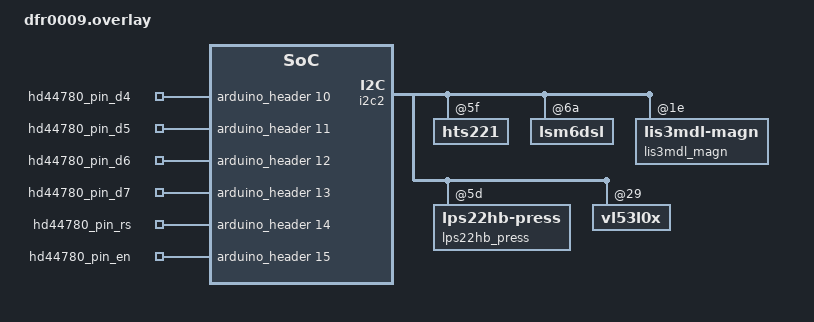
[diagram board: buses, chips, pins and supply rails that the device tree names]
/ {
    dfr0009 {
        compatible = "lcd1602", "hd44780", "gpio-leds";
        status = "okay";
        label = "hd44780";
 
        /* TODO: put ADC button gpios here too */

        hd44780_pin_d4: pin_d4 {
            gpios = <&arduino_header 10 GPIO_ACTIVE_HIGH>;
        };

        hd44780_pin_d5: pin_d5 {
            gpios = <&arduino_header 11 GPIO_ACTIVE_HIGH>;
        };

        hd44780_pin_d6: pin_d6 {
            gpios = <&arduino_header 12 GPIO_ACTIVE_HIGH>;
        };

        hd44780_pin_d7: pin_d7 {
            gpios = <&arduino_header 13 GPIO_ACTIVE_HIGH>;
        };
        
        hd44780_pin_rs: pin_rs {
            gpios = <&arduino_header 14 GPIO_ACTIVE_HIGH>;
        };

        hd44780_pin_en: pin_en {
            gpios = <&arduino_header 15 GPIO_ACTIVE_HIGH>;
        };
        
    };

    aliases {
        dfr0009d4 = &hd44780_pin_d4;
        dfr0009d5 = &hd44780_pin_d5;
        dfr0009d6 = &hd44780_pin_d6;
        dfr0009d7 = &hd44780_pin_d7;
        dfr0009rs = &hd44780_pin_rs;
        dfr0009en = &hd44780_pin_en;
    };
};


/***** B-L475E-IOT01A ADDITIONAL DEVICES *****/

/ {
    aliases {
        temperature = &hts221;
        humidity = &hts221;
        accelerometer = &lsm6dsl;
        magnetometer = &lis3mdl_magn;
        barometer = &lps22hb_press;
        distance = &vl53l0x;
        gyrometer = &lsm6dsl;
        push-button-0 = &user_button;
        status-led = &green_led_1;
    };
};

&i2c2 {
    hts221: hts221@5f {};
    lsm6dsl: lsm6dsl@6a {};
    lis3mdl_magn: lis3mdl-magn@1e {};
    lps22hb_press: lps22hb-press@5d {};
    vl53l0x: vl53l0x@29 {};
};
